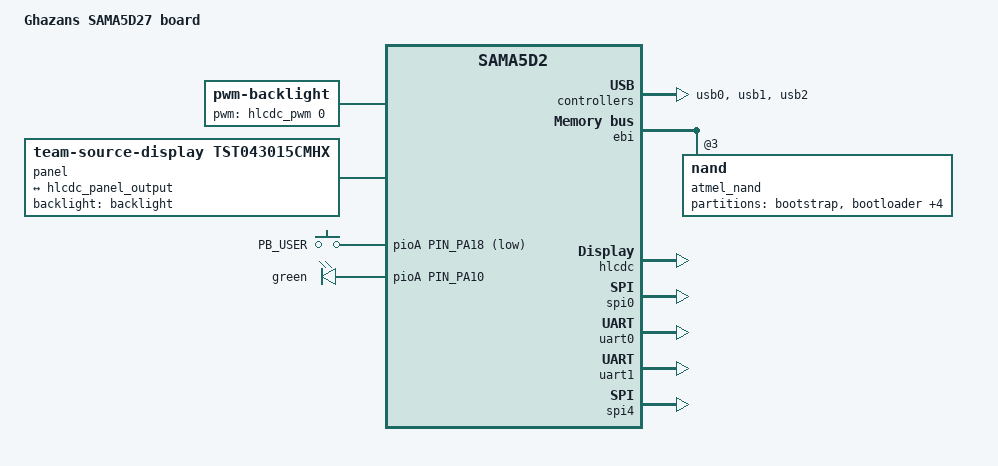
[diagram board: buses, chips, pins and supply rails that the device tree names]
// SPDX-License-Identifier: (GPL-2.0+ OR X11)
/*
 * at91-sama5d2_ptc_ek.dts - Device Tree file for SAMA5D2 PTC EK board
 *
 *  Copyright (C) 2017 Microchip/Atmel,
 *		  2017 Wenyou Yang <wenyou.yang@microchip.com>
 *		  2017 Ludovic Desroches <ludovic.desroches@microchip.com>
 */
/dts-v1/;
#include "sama5d2.dtsi"
#include "sama5d2-pinfunc.h"
#include <dt-bindings/mfd/atmel-flexcom.h>
#include <dt-bindings/gpio/gpio.h>
#include <dt-bindings/input/input.h>
#include <dt-bindings/pinctrl/at91.h>

/ {
	model = "Ghazans SAMA5D27 board";
	compatible = "atmel,sama5d2-ptc_ek", "atmel,sama5d2", "atmel,sama5";

	aliases {
		serial0 = &uart0;	/* Console*/
		serial1 = &uart1;	/* Console*/
	};

	chosen {
		stdout-path = "serial1:115200n8";
	};

	clocks {
		slow_xtal {
			clock-frequency = <32768>;
		};

		main_xtal {
			clock-frequency = <12000000>;
		};
	};

	ahb {
		usb0: gadget@300000 {
			status = "okay";
		};

		usb1: ohci@400000 {
			num-ports = <3>;
			status = "okay";
		};

		usb2: ehci@500000 {
			status = "okay";
		};

		ebi: ebi@10000000 {
			pinctrl-names = "default";
			pinctrl-0 = <&pinctrl_nand_default>;
			status = "okay"; /* conflicts with sdmmc1 and qspi0 */

			nand_controller: nand-controller {
				status = "okay";

				nand@3 {
					reg = <0x3 0x0 0x2>;
					atmel,rb = <0>;
					nand-bus-width = <8>;
					nand-ecc-mode = "hw";
					nand-on-flash-bbt;
					label = "atmel_nand";

					partitions {
						compatible = "fixed-partitions";
						#address-cells = <1>;
						#size-cells = <1>;

						at91bootstrap@0 {
							label = "bootstrap";
							reg = <0x0 0x40000>;
						};

						bootloader@80000 {
							label = "bootloader";
							reg = <0x80000 0xc0000>;
						};

						bootloaderenv@140000 {
							label = "bootloader env";
							reg = <0x140000 0x40000>;
						};

						dtb@180000 {
							label = "device tree";
							reg = <0x180000 0x40000>;
						};

						kernel@1C0000 {
							label = "kernel";
							reg = <0x1C0000 0x640000>;
						};

						rootfs@800000 {
							label = "rootfs";
							reg = <0x800000 0x1f700000>;
						};
					};
				};
			};
		};

		sdmmc0: sdio-host@a0000000 {
			bus-width = <8>;
			pinctrl-names = "default";
			pinctrl-0 = <&pinctrl_sdmmc0_default>;
			status = "disabled";
		};

		apb {
                        hlcdc: hlcdc@f0000000 {
                                status = "okay";
                                hlcdc-display-controller {
                                        pinctrl-names = "default";
                                        pinctrl-0 = <&pinctrl_lcd_base &pinctrl_lcd_rgb666>;
                                        port@0 {
                                                hlcdc_panel_output: endpoint@0 {
                                                        reg = <0>;
                                                        remote-endpoint = <&panel_input>;
                                                };
					};
				};
                                hlcdc_pwm: hlcdc-pwm {
			                pinctrl-names = "default";
			                pinctrl-0 = <&pinctrl_lcd_pwm>;
                                };
			};



			spi0: spi@f8000000 {
				pinctrl-names = "default";
				pinctrl-0 = <&pinctrl_spi0_default>;
				status = "okay"; /* Overlaps flexcom3 */
			};

			macb0: ethernet@f8008000 {
				status = "disabled";

			};

			tcb0: timer@f800c000 {
				timer0: timer@0 {
					compatible = "atmel,tcb-timer";
					reg = <0>;
				};

				timer1: timer@1 {
					compatible = "atmel,tcb-timer";
					reg = <1>;
				};
			};

			uart0: serial@f801c000 {
				pinctrl-names = "default";
				pinctrl-0 = <&pinctrl_uart0_default>;
				atmel,use-dma-rx;
				atmel,use-dma-tx;
				status = "okay";
			};

			uart1: serial@f8020000 {
				pinctrl-names = "default";
				pinctrl-0 = <&pinctrl_uart1_default>;
				atmel,use-dma-rx;
				atmel,use-dma-tx;
				status = "okay";
			};

			i2c0: i2c@f8028000 {
				status = "disabled";
			};

			flx0: flexcom@f8034000 {
				status = "disabled";
			};
                        flx1: flexcom@f8038000 {
                                status = "disabled";
                        };
                        flx2: flexcom@fc010000 {
				atmel,flexcom-mode = <ATMEL_FLEXCOM_MODE_SPI>;
				status = "okay";
                                spi4: spi@400 {
                                        status = "okay";
                                };
			};

			poweroff@f8048010 {
				debounce-delay-us = <976>;

				input@0 {
					reg = <0>;
				};
			};

			watchdog@f8048040 {
				status = "okay";
			};

			spi1: spi@fc000000 {
				pinctrl-names = "default";
				pinctrl-0 = <&pinctrl_spi1_default>;
				status = "disabled";
			};

			i2c1: i2c@fc028000 {
				dmas = <0>, <0>;
				pinctrl-names = "default", "gpio";
				pinctrl-0 = <&pinctrl_i2c1_default>;
				pinctrl-1 = <&pinctrl_i2c1_gpio>;
				sda-gpios = <&pioA PIN_PC6 GPIO_ACTIVE_HIGH>;
				scl-gpios = <&pioA PIN_PC7 (GPIO_ACTIVE_HIGH | GPIO_OPEN_DRAIN)>;
				status = "disabled";

			};

			pinctrl@fc038000 {
				pinctrl_flx0_default: flx0_default {
					pinmux = <PIN_PB28__FLEXCOM0_IO0>,
						 <PIN_PB29__FLEXCOM0_IO1>;
					bias-disable;
				};

				pinctrl_flx0_gpio: flx0_gpio {
					pinmux = <PIN_PB28__GPIO>,
						 <PIN_PB29__GPIO>;
					bias-disable;
				};

				pinctrl_i2c0_default: i2c0_default {
					pinmux = <PIN_PD21__TWD0>,
						 <PIN_PD22__TWCK0>;
					bias-disable;
				};

				pinctrl_i2c0_gpio: i2c0_gpio {
					pinmux = <PIN_PD21__GPIO>,
						 <PIN_PD22__GPIO>;
					bias-disable;
				};

				pinctrl_i2c1_default: i2c1_default {
					pinmux = <PIN_PC6__TWD1>,
						 <PIN_PC7__TWCK1>;
					bias-disable;
				};

				pinctrl_i2c1_gpio: i2c1_gpio {
					pinmux = <PIN_PC6__GPIO>,
						 <PIN_PC7__GPIO>;
					bias-disable;
				};

				pinctrl_key_gpio_default: key_gpio_default {
					pinmux = <PIN_PA18__GPIO>;
					bias-pull-up;
				};

				pinctrl_led_gpio_default: led_gpio_default {
					pinmux = <PIN_PA10__GPIO>;
					bias-pull-up;
				};

				pinctrl_macb0_default: macb0_default {
					pinmux = <PIN_PB14__GTXCK>,
						 <PIN_PB15__GTXEN>,
						 <PIN_PB16__GRXDV>,
						 <PIN_PB17__GRXER>,
						 <PIN_PB18__GRX0>,
						 <PIN_PB19__GRX1>,
						 <PIN_PB20__GTX0>,
						 <PIN_PB21__GTX1>,
						 <PIN_PB22__GMDC>,
						 <PIN_PB23__GMDIO>;
					bias-disable;
				};

				pinctrl_macb0_phy_irq: macb0_phy_irq {
					pinmux = <PIN_PB24__GPIO>;
					bias-disable;
				};

				pinctrl_nand_default: nand_default {
					re_we_data {
						pinmux = <PIN_PA22__D0>,
							 <PIN_PA23__D1>,
							 <PIN_PA24__D2>,
							 <PIN_PA25__D3>,
							 <PIN_PA26__D4>,
							 <PIN_PA27__D5>,
							 <PIN_PA28__D6>,
							 <PIN_PA29__D7>,
							 <PIN_PA31__NCS3>;
						bias-disable;
						atmel,drive-strength = <ATMEL_PIO_DRVSTR_ME>;
					};

					ale_cle_rdy_cs {
						pinmux = <PIN_PB0__A21_NANDALE>,
							 <PIN_PB1__A22_NANDCLE>,
							 <PIN_PC8__NANDRDY>,
							 <PIN_PA30__NWE_NANDWE>,
							 <PIN_PB2__NRD_NANDOE>;
						bias-pull-up;
						atmel,drive-strength = <ATMEL_PIO_DRVSTR_ME>;
					};
				};

				pinctrl_sdmmc0_default: sdmmc0_default {
					cmd_data {
						pinmux = <PIN_PA1__SDMMC0_CMD>,
							 <PIN_PA2__SDMMC0_DAT0>,
							 <PIN_PA3__SDMMC0_DAT1>,
							 <PIN_PA4__SDMMC0_DAT2>,
							 <PIN_PA5__SDMMC0_DAT3>,
							 <PIN_PA6__SDMMC0_DAT4>,
							 <PIN_PA7__SDMMC0_DAT5>,
							 <PIN_PA8__SDMMC0_DAT6>,
							 <PIN_PA9__SDMMC0_DAT7>;
						bias-pull-up;
					};

					ck_cd_vddsel {
						pinmux = <PIN_PA0__SDMMC0_CK>,
							 <PIN_PA11__SDMMC0_VDDSEL>,
							 <PIN_PA13__SDMMC0_CD>;
						bias-disable;
					};
				};

				pinctrl_spi0_default: spi0_default {
					pinmux = <PIN_PA14__SPI0_SPCK>,
						 <PIN_PA15__SPI0_MOSI>,
						 <PIN_PA16__SPI0_MISO>,
						 <PIN_PA17__SPI0_NPCS0>;
					bias-disable;
				};

				pinctrl_spi1_default: spi1_default {
					pinmux = <PIN_PC1__SPI1_SPCK>,
						 <PIN_PC2__SPI1_MOSI>,
						 <PIN_PC3__SPI1_MISO>,
						 <PIN_PC4__SPI1_NPCS0>;
					bias-disable;
				};

				pinctrl_uart0_default: uart0_default {
					pinmux = <PIN_PB26__URXD0>,
						 <PIN_PB27__UTXD0>;
					bias-disable;
				};

				pinctrl_uart1_default: uart1_default {
					pinmux = <PIN_PD2__URXD1>,
						 <PIN_PD3__UTXD1>;
					bias-disable;
				};

				pinctrl_usb_default: usb_default {
					pinmux = <PIN_PB12__GPIO>;
					bias-disable;
				};

				pinctrl_usba_vbus: usba_vbus {
					pinmux = <PIN_PB11__GPIO>;
					bias-disable;
				};
                                pinctrl_lcd_base: lcd-base-0 {
					pinmux = <PIN_PC29__LCDDISP>,
						<PIN_PC30__LCDVSYNC>,
						<PIN_PC31__LCDHSYNC>,
						<PIN_PD0__LCDPCK>,
						<PIN_PD1__LCDDEN>;
					bias-disable;
                                };
                                pinctrl_lcd_pwm: lcd-pwm-0 {
                                        pinmux = <PIN_PC28__LCDPWM>;    /* LCDPWM */
					bias-disable;
                                };
                                pinctrl_lcd_rgb444: lcd-rgb-0 {
                                        atmel,pins =
                                                <AT91_PIOA 0 AT91_PERIPH_A AT91_PINCTRL_NONE    /* LCDD0 pin */
                                                 AT91_PIOA 1 AT91_PERIPH_A AT91_PINCTRL_NONE    /* LCDD1 pin */
                                                 AT91_PIOA 2 AT91_PERIPH_A AT91_PINCTRL_NONE    /* LCDD2 pin */
                                                 AT91_PIOA 3 AT91_PERIPH_A AT91_PINCTRL_NONE    /* LCDD3 pin */
                                                 AT91_PIOA 4 AT91_PERIPH_A AT91_PINCTRL_NONE    /* LCDD4 pin */
                                                 AT91_PIOA 5 AT91_PERIPH_A AT91_PINCTRL_NONE    /* LCDD5 pin */
                                                 AT91_PIOA 6 AT91_PERIPH_A AT91_PINCTRL_NONE    /* LCDD6 pin */
                                                 AT91_PIOA 7 AT91_PERIPH_A AT91_PINCTRL_NONE    /* LCDD7 pin */
                                                 AT91_PIOA 8 AT91_PERIPH_A AT91_PINCTRL_NONE    /* LCDD8 pin */
                                                 AT91_PIOA 9 AT91_PERIPH_A AT91_PINCTRL_NONE    /* LCDD9 pin */
                                                 AT91_PIOA 10 AT91_PERIPH_A AT91_PINCTRL_NONE   /* LCDD10 pin */
                                                 AT91_PIOA 11 AT91_PERIPH_A AT91_PINCTRL_NONE>; /* LCDD11 pin */
                                };
                                pinctrl_lcd_rgb666: lcd-rgb-5 {
					pinmux = 
						<PIN_PC10__LCDDAT2>,
						<PIN_PC11__LCDDAT3>,
						<PIN_PC12__LCDDAT4>,
						<PIN_PC13__LCDDAT5>,
						<PIN_PC14__LCDDAT6>,
						<PIN_PC15__LCDDAT7>,
						<PIN_PC16__LCDDAT10>,
						<PIN_PC17__LCDDAT11>,
						<PIN_PC18__LCDDAT12>,
						<PIN_PC19__LCDDAT13>,
						<PIN_PC20__LCDDAT14>,
						<PIN_PC21__LCDDAT15>,
						<PIN_PC22__LCDDAT18>,
						<PIN_PC23__LCDDAT19>,
						<PIN_PC24__LCDDAT20>,
						<PIN_PC25__LCDDAT21>,
						<PIN_PC26__LCDDAT22>,
						<PIN_PC27__LCDDAT23>;
					bias-disable;
                                };
                                pinctrl_lcd_rgb565: lcd-rgb-1 {
                                        pinmux =
                                                <PIN_PC10__LCDDAT2>,
                                                <PIN_PC11__LCDDAT3>,
                                                <PIN_PC12__LCDDAT4>,
                                                <PIN_PC13__LCDDAT5>,
                                                <PIN_PC14__LCDDAT6>,
                                                <PIN_PC15__LCDDAT7>,
                                                <PIN_PC16__LCDDAT10>,
                                                <PIN_PC17__LCDDAT11>,
                                                <PIN_PC18__LCDDAT12>,
                                                <PIN_PC19__LCDDAT13>,
                                                <PIN_PC20__LCDDAT14>,
                                                <PIN_PC21__LCDDAT15>,
                                                <PIN_PC22__LCDDAT18>,
                                                <PIN_PC23__LCDDAT19>,
                                                <PIN_PC24__LCDDAT20>,
                                                <PIN_PC25__LCDDAT21>,
                                                <PIN_PC26__LCDDAT22>,
                                                <PIN_PC27__LCDDAT23>;
                                        bias-disable;
/*                                        atmel,pins =
                                                <AT91_PIOA 0 AT91_PERIPH_A AT91_PINCTRL_NONE
                                                 AT91_PIOA 1 AT91_PERIPH_A AT91_PINCTRL_NONE
                                                 AT91_PIOA 2 AT91_PERIPH_A AT91_PINCTRL_NONE
                                                 AT91_PIOA 3 AT91_PERIPH_A AT91_PINCTRL_NONE
                                                 AT91_PIOA 4 AT91_PERIPH_A AT91_PINCTRL_NONE
                                                 AT91_PIOA 5 AT91_PERIPH_A AT91_PINCTRL_NONE
                                                 AT91_PIOA 6 AT91_PERIPH_A AT91_PINCTRL_NONE
                                                 AT91_PIOA 7 AT91_PERIPH_A AT91_PINCTRL_NONE
                                                 AT91_PIOA 8 AT91_PERIPH_A AT91_PINCTRL_NONE
                                                 AT91_PIOA 9 AT91_PERIPH_A AT91_PINCTRL_NONE
                                                 AT91_PIOA 10 AT91_PERIPH_A AT91_PINCTRL_NONE
                                                 AT91_PIOA 11 AT91_PERIPH_A AT91_PINCTRL_NONE
                                                 AT91_PIOA 12 AT91_PERIPH_A AT91_PINCTRL_NONE
                                                 AT91_PIOA 13 AT91_PERIPH_A AT91_PINCTRL_NONE
                                                 AT91_PIOA 14 AT91_PERIPH_A AT91_PINCTRL_NONE
                                                 AT91_PIOA 15 AT91_PERIPH_A AT91_PINCTRL_NONE
                                                 AT91_PIOA 18 AT91_PERIPH_A AT91_PINCTRL_NONE
                                                 AT91_PIOA 19 AT91_PERIPH_A AT91_PINCTRL_NONE
                                                 AT91_PIOA 20 AT91_PERIPH_A AT91_PINCTRL_NONE
                                                 AT91_PIOA 21 AT91_PERIPH_A AT91_PINCTRL_NONE
                                                 AT91_PIOA 22 AT91_PERIPH_A AT91_PINCTRL_NONE
                                                 AT91_PIOA 23 AT91_PERIPH_A AT91_PINCTRL_NONE>;
*/
                                };
                                pinctrl_lcd_rgb777: lcd-rgb-3 {
                                        atmel,pins =
                                                 /* LCDDAT0 conflicts with TMS */
                                                <AT91_PIOA 1 AT91_PERIPH_A AT91_PINCTRL_NONE    /* LCDD1 pin */
                                                 AT91_PIOA 2 AT91_PERIPH_A AT91_PINCTRL_NONE    /* LCDD2 pin */
                                                 AT91_PIOA 3 AT91_PERIPH_A AT91_PINCTRL_NONE    /* LCDD3 pin */
                                                 AT91_PIOA 4 AT91_PERIPH_A AT91_PINCTRL_NONE    /* LCDD4 pin */
                                                 AT91_PIOA 5 AT91_PERIPH_A AT91_PINCTRL_NONE    /* LCDD5 pin */
                                                 AT91_PIOA 6 AT91_PERIPH_A AT91_PINCTRL_NONE    /* LCDD6 pin */
                                                 AT91_PIOA 7 AT91_PERIPH_A AT91_PINCTRL_NONE    /* LCDD7 pin */
                                                 /* LCDDAT8 conflicts with TCK */
                                                 AT91_PIOA 9 AT91_PERIPH_A AT91_PINCTRL_NONE    /* LCDD9 pin */
                                                 AT91_PIOA 10 AT91_PERIPH_A AT91_PINCTRL_NONE   /* LCDD10 pin */
                                                 AT91_PIOA 11 AT91_PERIPH_A AT91_PINCTRL_NONE   /* LCDD11 pin */
                                                 AT91_PIOA 12 AT91_PERIPH_A AT91_PINCTRL_NONE   /* LCDD12 pin */
                                                 AT91_PIOA 13 AT91_PERIPH_A AT91_PINCTRL_NONE   /* LCDD13 pin */
                                                 AT91_PIOA 14 AT91_PERIPH_A AT91_PINCTRL_NONE   /* LCDD14 pin */
                                                 AT91_PIOA 15 AT91_PERIPH_A AT91_PINCTRL_NONE   /* LCDD15 pin */
                                                 /* LCDDAT16 conflicts with NTRST */
                                                 AT91_PIOA 17 AT91_PERIPH_A AT91_PINCTRL_NONE   /* LCDD17 pin */
                                                 AT91_PIOA 18 AT91_PERIPH_A AT91_PINCTRL_NONE   /* LCDD18 pin */
                                                 AT91_PIOA 19 AT91_PERIPH_A AT91_PINCTRL_NONE   /* LCDD19 pin */
                                                 AT91_PIOA 20 AT91_PERIPH_A AT91_PINCTRL_NONE   /* LCDD20 pin */
                                                 AT91_PIOA 21 AT91_PERIPH_A AT91_PINCTRL_NONE   /* LCDD21 pin */
                                                 AT91_PIOA 22 AT91_PERIPH_A AT91_PINCTRL_NONE   /* LCDD22 pin */
                                                 AT91_PIOA 23 AT91_PERIPH_A AT91_PINCTRL_NONE>; /* LCDD23 pin */
                                };
                                pinctrl_lcd_rgb888: lcd-rgb-4 {
                                        atmel,pins =
                                                <AT91_PIOA 0 AT91_PERIPH_A AT91_PINCTRL_NONE    /* LCDD0 pin */
                                                 AT91_PIOA 1 AT91_PERIPH_A AT91_PINCTRL_NONE    /* LCDD1 pin */
                                                 AT91_PIOA 2 AT91_PERIPH_A AT91_PINCTRL_NONE    /* LCDD2 pin */
                                                 AT91_PIOA 3 AT91_PERIPH_A AT91_PINCTRL_NONE    /* LCDD3 pin */
                                                 AT91_PIOA 4 AT91_PERIPH_A AT91_PINCTRL_NONE    /* LCDD4 pin */
                                                 AT91_PIOA 5 AT91_PERIPH_A AT91_PINCTRL_NONE    /* LCDD5 pin */
                                                 AT91_PIOA 6 AT91_PERIPH_A AT91_PINCTRL_NONE    /* LCDD6 pin */
                                                 AT91_PIOA 7 AT91_PERIPH_A AT91_PINCTRL_NONE    /* LCDD7 pin */
                                                 AT91_PIOA 8 AT91_PERIPH_A AT91_PINCTRL_NONE    /* LCDD8 pin */
                                                 AT91_PIOA 9 AT91_PERIPH_A AT91_PINCTRL_NONE    /* LCDD9 pin */
                                                 AT91_PIOA 10 AT91_PERIPH_A AT91_PINCTRL_NONE   /* LCDD10 pin */
                                                 AT91_PIOA 11 AT91_PERIPH_A AT91_PINCTRL_NONE   /* LCDD11 pin */
                                                 AT91_PIOA 12 AT91_PERIPH_A AT91_PINCTRL_NONE   /* LCDD12 pin */
                                                 AT91_PIOA 13 AT91_PERIPH_A AT91_PINCTRL_NONE   /* LCDD13 pin */
                                                 AT91_PIOA 14 AT91_PERIPH_A AT91_PINCTRL_NONE   /* LCDD14 pin */
                                                 AT91_PIOA 15 AT91_PERIPH_A AT91_PINCTRL_NONE   /* LCDD15 pin */
                                                 AT91_PIOA 16 AT91_PERIPH_A AT91_PINCTRL_NONE   /* LCDD16 pin */
                                                 AT91_PIOA 17 AT91_PERIPH_A AT91_PINCTRL_NONE   /* LCDD17 pin */
                                                 AT91_PIOA 18 AT91_PERIPH_A AT91_PINCTRL_NONE   /* LCDD18 pin */
                                                 AT91_PIOA 19 AT91_PERIPH_A AT91_PINCTRL_NONE   /* LCDD19 pin */
                                                 AT91_PIOA 20 AT91_PERIPH_A AT91_PINCTRL_NONE   /* LCDD20 pin */
                                                 AT91_PIOA 21 AT91_PERIPH_A AT91_PINCTRL_NONE   /* LCDD21 pin */
                                                 AT91_PIOA 22 AT91_PERIPH_A AT91_PINCTRL_NONE   /* LCDD22 pin */
                                                 AT91_PIOA 23 AT91_PERIPH_A AT91_PINCTRL_NONE>; /* LCDD23 pin */
                                };
			};

		};
	};

        backlight: backlight {
                compatible = "pwm-backlight";
                pwms = <&hlcdc_pwm 0 50000 0>;
                brightness-levels = <0 4 8 16 32 64 128 255>;
                default-brightness-level = <6>;
                status = "okay";
        };
        panel: panel {
//                compatible = "qiaodian,qd43003c0-40";
                compatible = "team-source-display,tst043015cmhx";
                backlight = <&backlight>;
                #address-cells = <1>;
                #size-cells = <0>;
                status = "okay";

                port@0 {
                        #address-cells = <1>;
                        #size-cells = <0>;

                        panel_input: endpoint@0 {
                                reg = <0>;
                                remote-endpoint = <&hlcdc_panel_output>;
                        };
                };
        };

	gpio-keys {
		compatible = "gpio-keys";

		pinctrl-names = "default";
		pinctrl-0 = <&pinctrl_key_gpio_default>;

		button-1 {
			label = "PB_USER";
			gpios = <&pioA PIN_PA18 GPIO_ACTIVE_LOW>;
			linux,code = <KEY_PROG1>;
		};
	};

	leds {
		compatible = "gpio-leds";
		pinctrl-names = "default";
		pinctrl-0 = <&pinctrl_led_gpio_default>;
		status = "okay";

		led-green {
			label = "green";
			gpios = <&pioA PIN_PA10 GPIO_ACTIVE_HIGH>;
			linux,default-trigger = "heartbeat";
		};
	};
};
